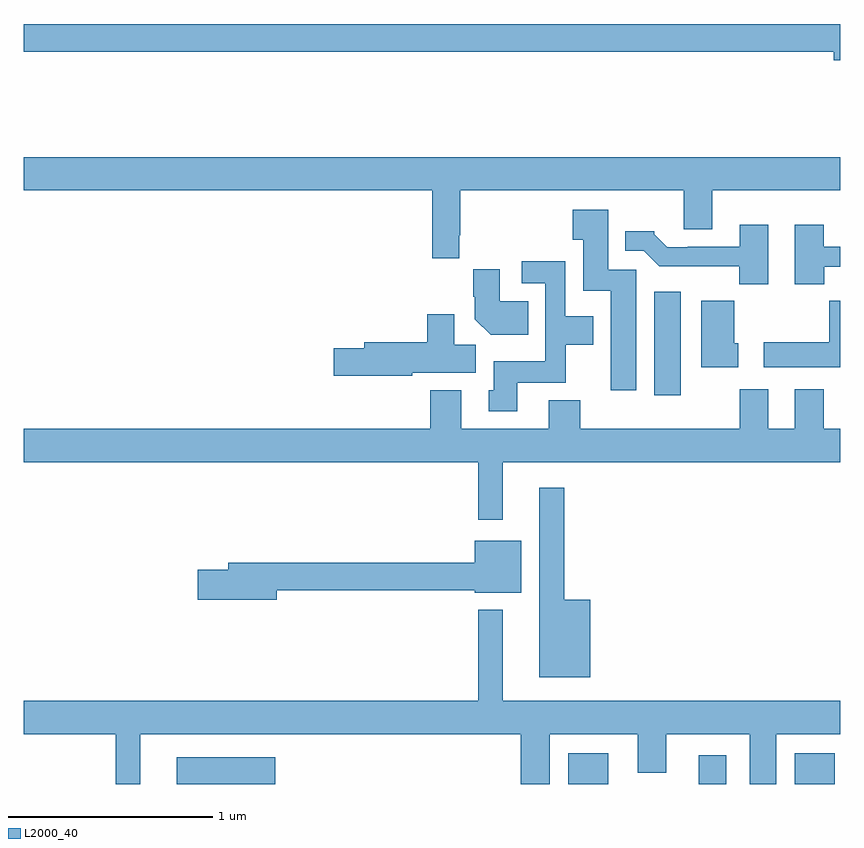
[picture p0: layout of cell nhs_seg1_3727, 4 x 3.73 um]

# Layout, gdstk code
import gdstk
lib = gdstk.Library(unit=1e-6, precision=1e-09)
def R(c, l, rs):  # rectangles x0, y0, x1, y1
    for r in rs: c.add(gdstk.rectangle(r[:2], r[2:], *l))
def P(c, l, *ps):  # polygons
    for p in ps: c.add(gdstk.Polygon(p, *l))
L2000_40 = (2000, 40)

nhs_seg1_3727 = lib.new_cell('nhs_seg1_3727')
R(nhs_seg1_3727, L2000_40, [(315.749,506.199,316.231,506.329), (317.667,506.199,317.863,506.35), (318.308,506.199,318.442,506.341), (318.777,506.199,318.973,506.35), (318.089,508.104,318.22,508.612)])
P(nhs_seg1_3727, L2000_40, [(319,509.924),(315,509.924),(315,509.788),(318.968,509.788),(318.968,509.746),(319,509.746)],
  [(317.134,508.888),(317.138,508.888),(317.138,509.108),(318.233,509.108),(318.233,508.918),(318.373,508.918),(318.373,509.108),(319,509.108),(319,509.272),(315,509.272),(315,509.108),(317.002,509.108),(317.002,508.776),(317.134,508.776)],
  [(318.001,508.719),(317.863,508.719),(317.863,509.014),(317.69,509.014),(317.69,508.867),(317.741,508.867),(317.741,508.616),(317.876,508.616),(317.876,508.128),(318.001,508.128)],
  [(318.922,508.734),(319,508.734),(319,508.833),(318.919,508.833),(318.919,508.939),(318.779,508.939),(318.779,508.649),(318.922,508.649)],
  [(318.649,508.939),(318.509,508.939),(318.509,508.833),(318.253,508.833),(318.253,508.83),(318.154,508.83),(318.09,508.894),(318.09,508.909),(317.948,508.909),(317.948,508.812),(318.039,508.812),(318.115,508.736),(318.507,508.736),(318.507,508.649),(318.649,508.649)],
  [(317.419,508.166),(317.655,508.166),(317.655,508.352),(317.791,508.352),(317.791,508.492),(317.652,508.492),(317.652,508.762),(317.439,508.762),(317.439,508.653),(317.556,508.653),(317.556,508.27),(317.303,508.27),(317.303,508.128),(317.279,508.128),(317.279,508.026),(317.419,508.026)],
  [(317.471,508.564),(317.332,508.564),(317.332,508.723),(317.201,508.723),(317.201,508.588),(317.21,508.588),(317.21,508.478),(317.288,508.4),(317.471,508.4)],
  [(318.502,508.359),(318.482,508.359),(318.482,508.567),(318.32,508.567),(318.32,508.241),(318.502,508.241)],
  [(319,508.567),(318.946,508.567),(318.946,508.363),(318.627,508.363),(318.627,508.241),(319,508.241)],
  [(316.902,508.214),(317.215,508.214),(317.215,508.352),(317.11,508.352),(317.11,508.501),(316.976,508.501),(316.976,508.364),(316.667,508.364),(316.667,508.334),(316.518,508.334),(316.518,508.199),(316.902,508.199)],
  [(317.347,507.776),(319,507.776),(319,507.94),(318.919,507.94),(318.919,508.135),(318.779,508.135),(318.779,507.94),(318.649,507.94),(318.649,508.135),(318.509,508.135),(318.509,507.94),(317.726,507.94),(317.726,508.081),(317.573,508.081),(317.573,507.94),(317.143,507.94),(317.143,508.129),(316.991,508.129),(316.991,507.94),(315,507.94),(315,507.776),(317.226,507.776),(317.226,507.495),(317.347,507.495)],
  [(317.776,507.103),(317.647,507.103),(317.647,507.652),(317.525,507.652),(317.525,506.723),(317.776,506.723)],
  [(316.24,507.148),(317.21,507.148),(317.21,507.137),(317.437,507.137),(317.437,507.391),(317.21,507.391),(317.21,507.284),(316.001,507.284),(316.001,507.248),(315.852,507.248),(315.852,507.101),(316.24,507.101)],
  [(315.571,506.444),(317.435,506.444),(317.435,506.199),(317.578,506.199),(317.578,506.444),(318.008,506.444),(318.008,506.254),(318.148,506.254),(318.148,506.444),(318.557,506.444),(318.557,506.199),(318.688,506.199),(318.688,506.444),(319,506.444),(319,506.608),(317.347,506.608),(317.347,507.052),(317.226,507.052),(317.226,506.608),(315,506.608),(315,506.444),(315.45,506.444),(315.45,506.199),(315.571,506.199)])

lib.write_gds('nhs_seg1_3727.gds')
